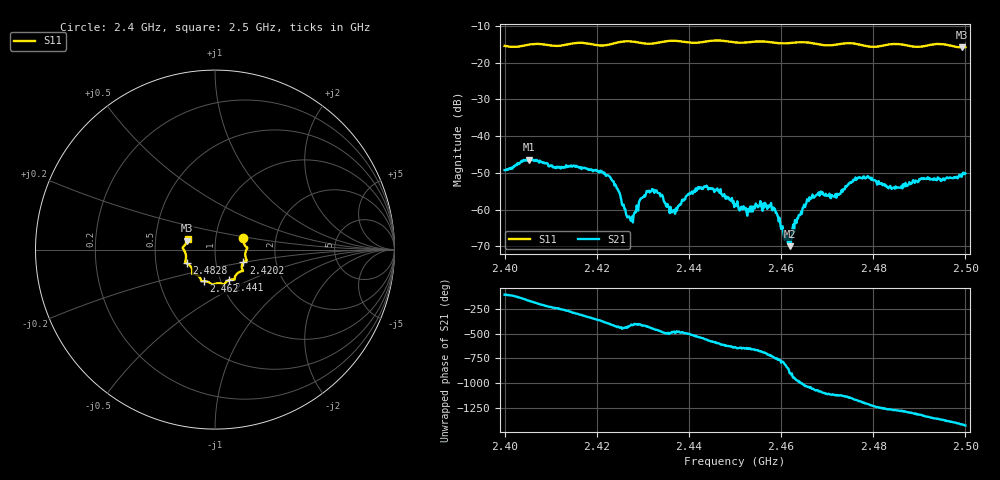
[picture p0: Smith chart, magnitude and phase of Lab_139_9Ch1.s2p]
# Hz S RI R 50
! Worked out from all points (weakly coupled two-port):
!   601 points, 2.4 GHz to 2.5 GHz, reference 50 ohm
!   highest |S21| = -46.37 dB at 2.4053 GHz (marker M1); lowest = -70.0 dB at 2.462 GHz (marker M2)
!   lowest |S11| = -15.8 dB at 2.4992 GHz (marker M3), VSWR 1.39, Z = 36.4 + j3.68 ohm
!   |S11| at or under -10 dB: start of sweep to end of sweep
!   S12 and S22 are empty: the file has one direction only
!   S11 on the Smith chart (normalised r, x): 2.4 GHz: 1.36, +0.17; 2.4202 GHz: 1.36, -0.20; 2.441 GHz: 1.10, -0.39; 2.462 GHz: 0.84, -0.30; 2.4828 GHz: 0.72, -0.11; 2.5 GHz: 0.73, +0.09
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2.4e9  0.1582 0.0623  -0.001 -0.00329  0 0  0 0
2.405333e9  0.1767 0.0129  -0.0047 -0.00101  0 0  0 0
2.416667e9  0.1772 -0.0608  0.00232 0.0027  0 0  0 0
2.420167e9  0.1582 -0.0713  0.00335 2.74e-05  0 0  0 0
2.423167e9  0.1498 -0.0997  0.00162 -0.00201  0 0  0 0
2.427333e9  0.1552 -0.1191  0.000382 -0.000597  0 0  0 0
2.430833e9  0.1282 -0.1297  0.000633 -0.00168  0 0  0 0
2.433333e9  0.1114 -0.1511  -0.000463 -0.00161  0 0  0 0
2.436667e9  0.1083 -0.1677  -0.000514 -0.000837  0 0  0 0
2.441e9  0.0783 -0.1699  -0.00163 -0.000648  0 0  0 0
2.446333e9  0.0494 -0.1953  -0.000995 0.00148  0 0  0 0
2.45e9  0.0282 -0.1877  0.000109 0.00118  0 0  0 0
2.458e9  -0.0255 -0.1881  0.000982 -0.000178  0 0  0 0
2.462e9  -0.0606 -0.1758  -0.000316 5.97e-06  0 0  0 0
2.4635e9  -0.0714 -0.1758  -0.000234 0.00072  0 0  0 0
2.466667e9  -0.0788 -0.1682  0.00136 0.00056  0 0  0 0
2.472e9  -0.1137 -0.1355  0.00111 -0.000926  0 0  0 0
2.4775e9  -0.1268 -0.1199  -0.000848 -0.00254  0 0  0 0
2.482833e9  -0.1575 -0.0767  -0.00206 4.85e-05  0 0  0 0
2.483333e9  -0.1607 -0.0752  -0.00194 0.000106  0 0  0 0
2.499167e9  -0.1548 0.0492  0.00251 0.00121  0 0  0 0
2.5e9  -0.1522 0.0609  0.00302 0.000694  0 0  0 0
